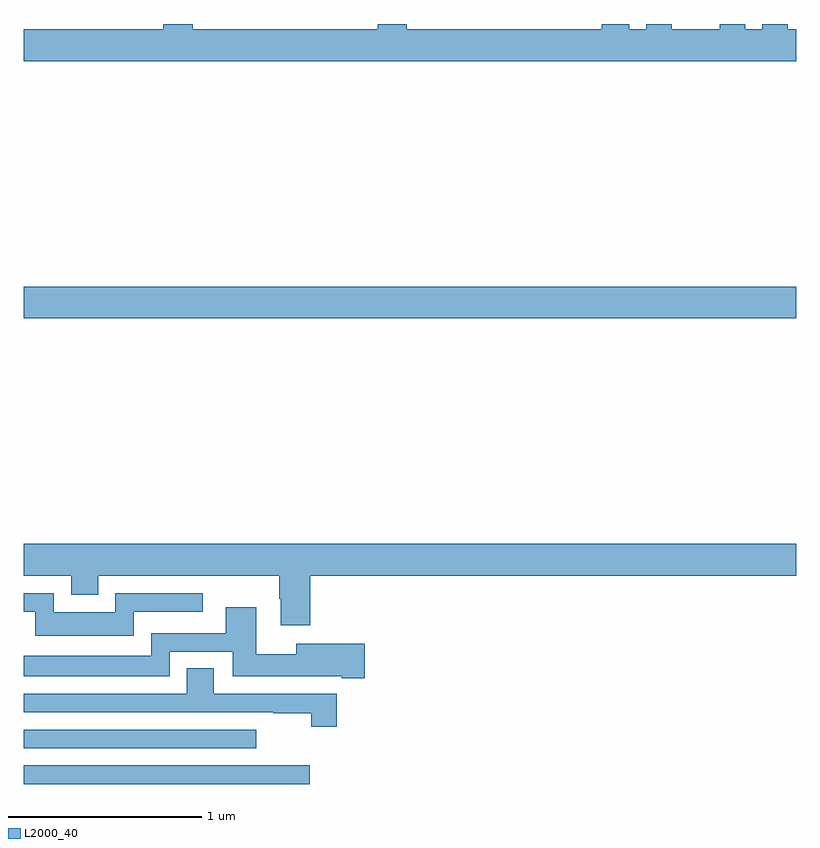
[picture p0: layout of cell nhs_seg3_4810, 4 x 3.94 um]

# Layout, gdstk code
import gdstk
lib = gdstk.Library(unit=1e-6, precision=1e-09)
def R(c, l, rs):  # rectangles x0, y0, x1, y1
    for r in rs: c.add(gdstk.rectangle(r[:2], r[2:], *l))
def P(c, l, *ps):  # polygons
    for p in ps: c.add(gdstk.Polygon(p, *l))
L2000_40 = (2000, 40)

nhs_seg3_4810 = lib.new_cell('nhs_seg3_4810')
R(nhs_seg3_4810, L2000_40, [(369,738.465,370.48,738.561), (369,738.651,370.204,738.747), (369,740.876,373,741.04)])
P(nhs_seg3_4810, L2000_40, [(373,742.372),(372.955,742.372),(372.955,742.4),(372.824,742.4),(372.824,742.372),(372.736,742.372),(372.736,742.4),(372.605,742.4),(372.605,742.372),(372.355,742.372),(372.355,742.4),(372.224,742.4),(372.224,742.372),(372.136,742.372),(372.136,742.4),(371.993,742.4),(371.993,742.372),(370.984,742.372),(370.984,742.4),(370.832,742.4),(370.832,742.372),(369.874,742.372),(369.874,742.4),(369.722,742.4),(369.722,742.372),(369,742.372),(369,742.208),(373,742.208)],
  [(370.484,739.544),(373,739.544),(373,739.708),(369,739.708),(369,739.544),(369.245,739.544),(369.245,739.445),(369.385,739.445),(369.385,739.544),(370.324,739.544),(370.324,739.424),(370.331,739.424),(370.331,739.287),(370.484,739.287)],
  [(369.57,739.356),(369.928,739.356),(369.928,739.452),(369.474,739.452),(369.474,739.354),(369.156,739.354),(369.156,739.452),(369,739.452),(369,739.356),(369.06,739.356),(369.06,739.232),(369.57,739.232)],
  [(370.765,739.191),(370.412,739.191),(370.412,739.137),(370.204,739.137),(370.204,739.381),(370.046,739.381),(370.046,739.245),(369.66,739.245),(369.66,739.129),(369,739.129),(369,739.022),(369.756,739.022),(369.756,739.149),(370.082,739.149),(370.082,739.022),(370.646,739.022),(370.646,739.013),(370.765,739.013)],
  [(370.621,738.933),(369.985,738.933),(369.985,739.064),(369.845,739.064),(369.845,738.933),(369,738.933),(369,738.837),(370.291,738.837),(370.291,738.832),(370.49,738.832),(370.49,738.762),(370.621,738.762)])

lib.write_gds('nhs_seg3_4810.gds')
